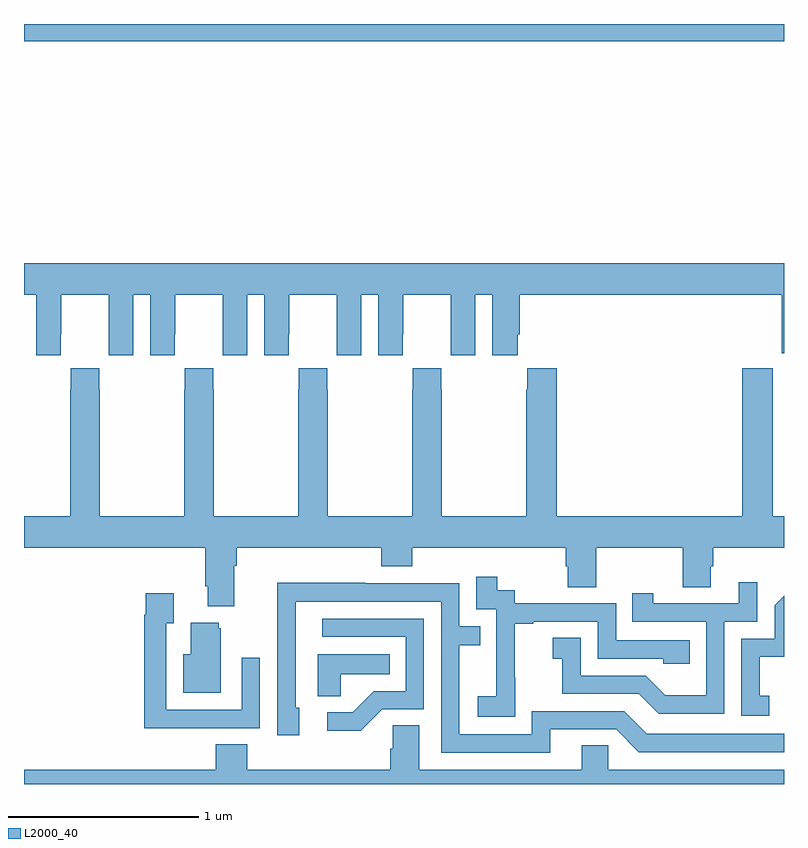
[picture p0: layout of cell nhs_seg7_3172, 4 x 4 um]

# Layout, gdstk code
import gdstk
lib = gdstk.Library(unit=1e-6, precision=1e-09)
def R(c, l, rs):  # rectangles x0, y0, x1, y1
    for r in rs: c.add(gdstk.rectangle(r[:2], r[2:], *l))
def P(c, l, *ps):  # polygons
    for p in ps: c.add(gdstk.Polygon(p, *l))
L2000_40 = (2000, 40)

nhs_seg7_3172 = lib.new_cell('nhs_seg7_3172')
R(nhs_seg7_3172, L2000_40, [(313,1041.908,317,1042)])
P(nhs_seg7_3172, L2000_40, [(313,1040.576),(313.064,1040.576),(313.064,1040.256),(313.194,1040.256),(313.194,1040.368),(313.195,1040.368),(313.195,1040.576),(313.445,1040.576),(313.445,1040.368),(313.446,1040.368),(313.446,1040.256),(313.576,1040.256),(313.576,1040.576),(313.664,1040.576),(313.664,1040.256),(313.794,1040.256),(313.794,1040.368),(313.795,1040.368),(313.795,1040.576),(314.045,1040.576),(314.045,1040.368),(314.046,1040.368),(314.046,1040.256),(314.176,1040.256),(314.176,1040.576),(314.264,1040.576),(314.264,1040.256),(314.394,1040.256),(314.394,1040.368),(314.395,1040.368),(314.395,1040.576),(314.645,1040.576),(314.645,1040.368),(314.646,1040.368),(314.646,1040.256),(314.776,1040.256),(314.776,1040.576),(314.864,1040.576),(314.864,1040.256),(314.994,1040.256),(314.994,1040.368),(314.995,1040.368),(314.995,1040.576),(315.245,1040.576),(315.245,1040.368),(315.246,1040.368),(315.246,1040.256),(315.376,1040.256),(315.376,1040.576),(315.464,1040.576),(315.464,1040.256),(315.598,1040.256),(315.598,1040.368),(315.608,1040.368),(315.608,1040.576),(316.988,1040.576),(316.988,1040.267),(317,1040.267),(317,1040.74),(313,1040.74)],
  [(315.851,1039.146),(315.863,1039.146),(315.863,1039.036),(316.011,1039.036),(316.011,1039.244),(316.468,1039.244),(316.468,1039.036),(316.615,1039.036),(316.615,1039.146),(316.628,1039.146),(316.628,1039.244),(317,1039.244),(317,1039.408),(316.941,1039.408),(316.941,1040.188),(316.781,1040.188),(316.781,1039.408),(315.803,1039.408),(315.803,1040.188),(315.649,1040.188),(315.649,1040.075),(315.643,1040.075),(315.643,1039.408),(315.198,1039.408),(315.198,1040.075),(315.195,1040.075),(315.195,1040.188),(315.045,1040.188),(315.045,1040.075),(315.043,1040.075),(315.043,1039.408),(314.598,1039.408),(314.598,1040.075),(314.595,1040.075),(314.595,1040.188),(314.445,1040.188),(314.445,1040.075),(314.443,1040.075),(314.443,1039.408),(313.998,1039.408),(313.998,1040.075),(313.995,1040.075),(313.995,1040.188),(313.845,1040.188),(313.845,1040.075),(313.843,1040.075),(313.843,1039.408),(313.398,1039.408),(313.398,1040.075),(313.395,1040.075),(313.395,1040.188),(313.245,1040.188),(313.245,1040.075),(313.243,1040.075),(313.243,1039.408),(313,1039.408),(313,1039.244),(313.955,1039.244),(313.955,1039.042),(313.967,1039.042),(313.967,1038.935),(314.107,1038.935),(314.107,1039.148),(314.12,1039.148),(314.12,1039.244),(314.879,1039.244),(314.879,1039.145),(315.044,1039.145),(315.044,1039.244),(315.851,1039.244)],
  [(315.585,1038.559),(315.584,1038.559),(315.584,1038.843),(315.679,1038.843),(315.679,1038.855),(316.02,1038.855),(316.02,1038.66),(316.365,1038.66),(316.365,1038.633),(316.505,1038.633),(316.505,1038.756),(316.116,1038.756),(316.116,1038.951),(315.582,1038.951),(315.582,1039.02),(315.49,1039.02),(315.49,1039.09),(315.381,1039.09),(315.381,1038.921),(315.486,1038.921),(315.486,1038.692),(315.485,1038.692),(315.485,1038.463),(315.387,1038.463),(315.387,1038.353),(315.585,1038.353)],
  [(316.686,1038.855),(316.86,1038.855),(316.86,1039.063),(316.763,1039.063),(316.763,1038.951),(316.312,1038.951),(316.312,1039.003),(316.201,1039.003),(316.201,1038.855),(316.59,1038.855),(316.59,1038.466),(316.376,1038.466),(316.272,1038.57),(315.93,1038.57),(315.93,1038.769),(315.783,1038.769),(315.783,1038.659),(315.832,1038.659),(315.832,1038.474),(316.235,1038.474),(316.34,1038.369),(316.686,1038.369)],
  [(315.769,1038.288),(316.116,1038.288),(316.236,1038.168),(317,1038.168),(317,1038.264),(316.278,1038.264),(316.158,1038.384),(315.672,1038.384),(315.672,1038.261),(315.291,1038.261),(315.291,1038.73),(315.401,1038.73),(315.401,1038.831),(315.291,1038.831),(315.291,1039.056),(314.795,1039.056),(314.795,1039.058),(314.332,1039.058),(314.332,1038.751),(314.334,1038.751),(314.334,1038.257),(314.449,1038.257),(314.449,1038.402),(314.43,1038.402),(314.43,1038.96),(315.195,1038.96),(315.195,1038.165),(315.769,1038.165)],
  [(313.925,1038.294),(314.241,1038.294),(314.241,1038.664),(314.145,1038.664),(314.145,1038.39),(313.749,1038.39),(313.749,1038.847),(313.789,1038.847),(313.789,1039.003),(313.641,1039.003),(313.641,1038.89),(313.633,1038.89),(313.633,1038.293),(313.925,1038.293)],
  [(316.922,1038.465),(316.873,1038.465),(316.873,1038.669),(317,1038.669),(317,1038.992),(316.95,1038.942),(316.95,1038.765),(316.776,1038.765),(316.776,1038.36),(316.922,1038.36)],
  [(314.886,1038.393),(315.105,1038.393),(315.105,1038.87),(314.571,1038.87),(314.571,1038.774),(315.009,1038.774),(315.009,1038.489),(314.84,1038.489),(314.729,1038.378),(314.595,1038.378),(314.595,1038.281),(314.773,1038.281)],
  [(314.035,1038.819),(314.024,1038.819),(314.024,1038.85),(313.877,1038.85),(313.877,1038.682),(313.838,1038.682),(313.838,1038.479),(314.035,1038.479)],
  [(314.667,1038.578),(314.924,1038.578),(314.924,1038.682),(314.546,1038.682),(314.546,1038.463),(314.667,1038.463)],
  [(317,1038.076),(316.074,1038.076),(316.074,1038.203),(315.935,1038.203),(315.935,1038.076),(315.079,1038.076),(315.079,1038.308),(314.94,1038.308),(314.94,1038.185),(314.927,1038.185),(314.927,1038.076),(314.174,1038.076),(314.174,1038.209),(314.009,1038.209),(314.009,1038.076),(313,1038.076),(313,1038),(317,1038)])

lib.write_gds('nhs_seg7_3172.gds')
